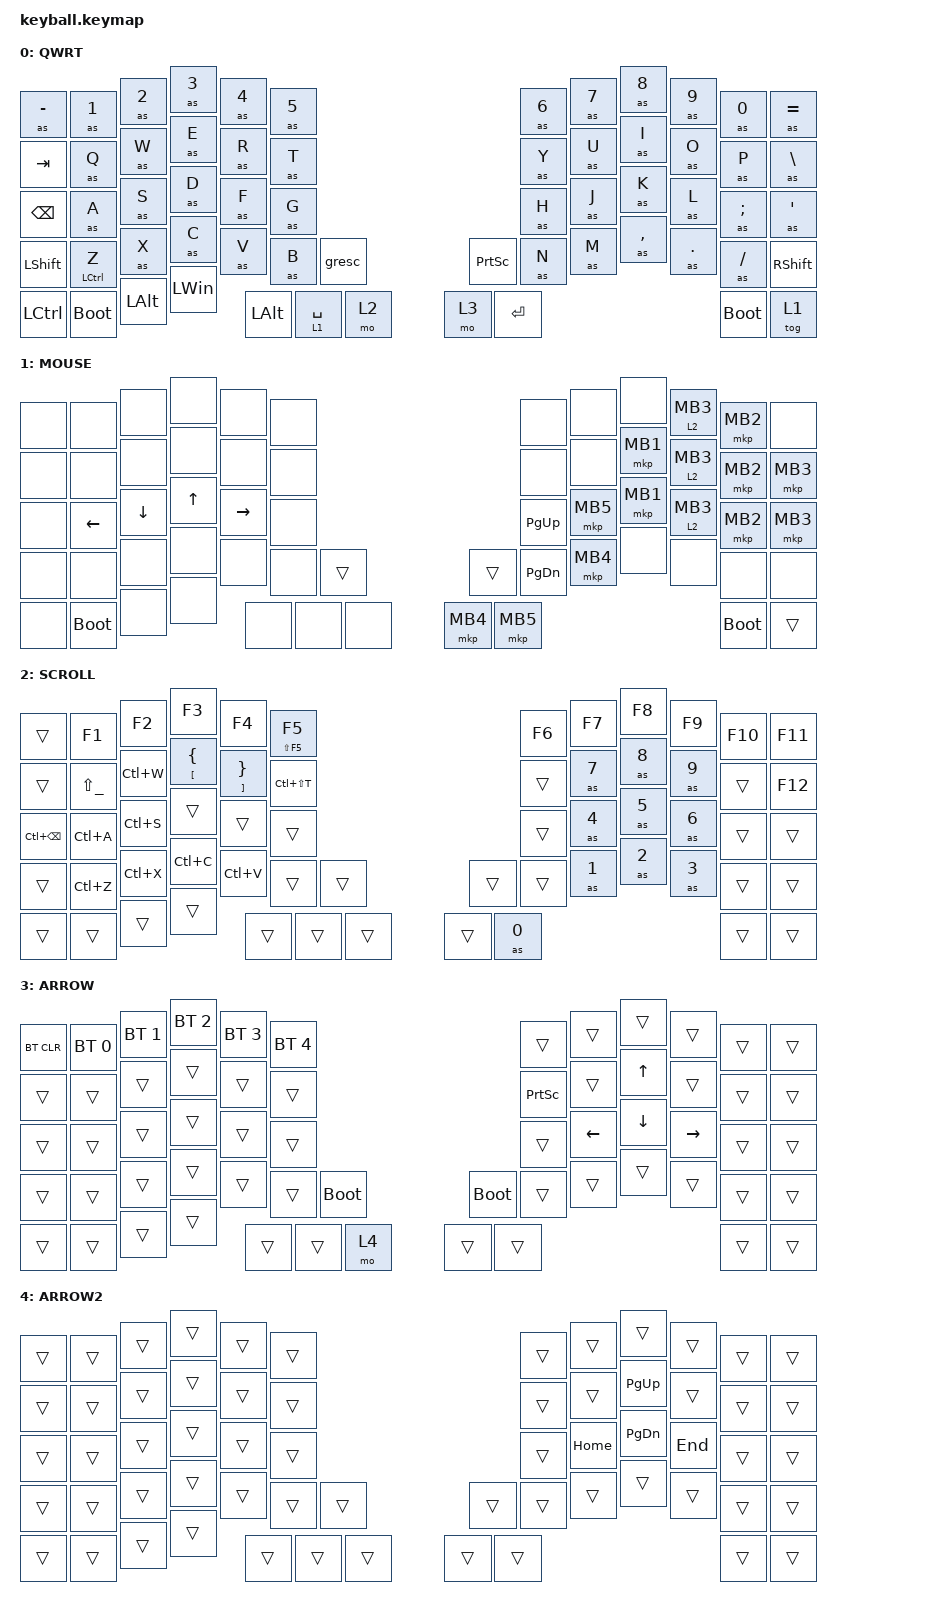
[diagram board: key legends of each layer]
#define DEFAULT 0
#define MOUSE   1
#define SCROLL  2
#define ARROW   3
#define ARROW2  4
#define KEYS_EXCLUDED_FROM_DISABLING_MOUSE_LAYER 9 10 20 21 22 23 30 31 32 33 34 35 44 45 55

#include <dt-bindings/zmk/mouse.h>
#include <behaviors/mouse_keys.dtsi>
#include <input/processors.dtsi>
#include <dt-bindings/zmk/input_transform.h>
#include <zephyr/dt-bindings/input/input-event-codes.h>
#include <behaviors.dtsi>
#include <dt-bindings/zmk/bt.h>
#include <dt-bindings/zmk/keys.h>
#include <dt-bindings/zmk/pointing.h>

// autoshift src: https://github.com/nickcoutsos/keymap-editor/wiki/Autoshift-using-ZMK-behaviors

&nice_view_spi { cs-gpios = <&pro_micro 1 GPIO_ACTIVE_HIGH>; };

&trackball_listener {
    input-processors = <
        &zip_x_scaler 1 1
        &zip_y_scaler 1 1
        &zip_temp_layer MOUSE 1000
    >;

    scroller: scroller {
        layers = <SCROLL>;
        input-processors = <
            &zip_xy_scaler 1 15
            &zip_xy_to_scroll_mapper
            &zip_scroll_transform (INPUT_TRANSFORM_Y_INVERT)
        >;
    };
};

&lt { tapping-term-ms = <170>; };

/ {
    combos {
        compatible = "zmk,combos";

        csharp_lambda {
            bindings = <&csharp_lambda>;
            key-positions = <11 54>;
            layers = <0>;
        };
    };

    behaviors {
        lmt: layer_mouse_tap {
            compatible = "zmk,behavior-hold-tap";
            bindings = <&mo>, <&mkp>;

            #binding-cells = <2>;
            tapping-term-ms = <170>;
        };

        as_ht: autoshift_hold_tap {
            compatible = "zmk,behavior-hold-tap";
            label = "AUTOSHIFT_HOLD_TAP";
            #binding-cells = <2>;
            tapping-term-ms = <110>;
            bindings = <&shifted>, <&kp>;

            flavor = "tap-preferred";
        };
    };

    macros {
        csharp_lambda: csharp_lambda {
            compatible = "zmk,behavior-macro";
            #binding-cells = <0>;
            bindings = <&kp SPACE &kp EQUAL &kp GT &kp SPACE>;
            wait-ms = <30>;
            tap-ms = <30>;
        };

        shifted: macro_shifted_kp {
            #binding-cells = <1>;
            label = "MACRO_SHIFTED_KP";
            compatible = "zmk,behavior-macro-one-param";
            bindings =
                <&macro_press>,
                <&kp LSHFT &macro_param_1to1>,
                <&macro_tap>,
                <&kp MACRO_PLACEHOLDER>,
                <&macro_release>,
                <&kp LSHFT>;
        };

        as: autoshift {
            compatible = "zmk,behavior-macro-one-param";
            #binding-cells = <1>;
            label = "AUTOSHIFT_KP";
            bindings =
                <&macro_press>,
                <&macro_param_1to1 &macro_param_1to2 &as_ht MACRO_PLACEHOLDER MACRO_PLACEHOLDER>,
                <&macro_pause_for_release>,
                <&macro_release>,
                <&macro_param_1to1 &macro_param_1to2 &as_ht MACRO_PLACEHOLDER MACRO_PLACEHOLDER>;
        };
    };

    /omit-if-no-ref/

    zip_temp_layer: zip_temp_layer {
        compatible = "zmk,input-processor-temp-layer";
        #input-processor-cells = <2>;
        require-prior-idle-ms = <500>;
        excluded-positions = <KEYS_EXCLUDED_FROM_DISABLING_MOUSE_LAYER>;
    };

    keymap {
        compatible = "zmk,keymap";

        default_layer {
            display-name = "QWRT";
            bindings = <
&as MINUS       &as N1       &as N2        &as N3        &as N4        &as N5                          &as N6     &as N7  &as N8     &as N9   &as N0       &as EQUAL
&kp TAB         &as Q        &as W         &as E         &as R         &as T                           &as Y      &as U   &as I      &as O    &as P        &as BACKSLASH
&kp BACKSPACE   &as A        &as S         &as D         &as F         &as G                           &as H      &as J   &as K      &as L    &as SEMI     &as SQT
&kp LEFT_SHIFT  &mt LCTRL Z  &as X         &as C         &as V         &as B        &gresc  &kp PSCRN  &as N      &as M   &as COMMA  &as DOT  &as FSLH     &kp RIGHT_SHIFT
&kp LCTRL       &bootloader  &kp LEFT_ALT  &kp LEFT_WIN  &kp LEFT_ALT  &lt 1 SPACE  &mo 2   &mo 3      &kp ENTER                              &bootloader  &tog 1
            >;
        };

        mouse_layer {
            display-name = "MOUSE";
            bindings = <
&none  &none        &none     &none   &none      &none                    &none          &none     &none     &lmt 2 MB3  &mkp MB2     &none
&none  &none        &none     &none   &none      &none                    &none          &none     &mkp MB1  &lmt 2 MB3  &mkp MB2     &mkp MB3
&none  &kp LEFT     &kp DOWN  &kp UP  &kp RIGHT  &none                    &kp PAGE_UP    &mkp MB5  &mkp MB1  &lmt 2 MB3  &mkp MB2     &mkp MB3
&none  &none        &none     &none   &none      &none  &trans  &trans    &kp PAGE_DOWN  &mkp MB4  &none     &none       &none        &none
&none  &bootloader  &none     &none   &none      &none  &none   &mkp MB4  &mkp MB5                                       &bootloader  &trans
            >;
        };

        scroll_layer {
            display-name = "SCROLL";
            bindings = <
&trans             &kp F1         &kp F2     &kp F3                 &kp F4                  &mt LS(F5) F5                  &kp F6  &kp F7  &kp F8  &kp F9  &kp F10  &kp F11
&trans             &kp LS(UNDER)  &kp LC(W)  &mt LEFT_BRACKET LBRC  &mt RIGHT_BRACKET RBRC  &kp LC(LS(T))                  &trans  &as N7  &as N8  &as N9  &trans   &kp F12
&kp LC(BACKSPACE)  &kp LC(A)      &kp LC(S)  &trans                 &trans                  &trans                         &trans  &as N4  &as N5  &as N6  &trans   &trans
&trans             &kp LC(Z)      &kp LC(X)  &kp LC(C)              &kp LC(V)               &trans         &trans  &trans  &trans  &as N1  &as N2  &as N3  &trans   &trans
&trans             &trans         &trans     &trans                 &trans                  &trans         &trans  &trans  &as N0                          &trans   &trans
            >;
        };

        arrow_layer {
            display-name = "ARROW";
            bindings = <
&bt BT_CLR  &bt BT_SEL 0  &bt BT_SEL 1  &bt BT_SEL 2  &bt BT_SEL 3  &bt BT_SEL 4                            &trans           &trans    &trans    &trans     &trans  &trans
&trans      &trans        &trans        &trans        &trans        &trans                                  &kp PRINTSCREEN  &trans    &kp UP    &trans     &trans  &trans
&trans      &trans        &trans        &trans        &trans        &trans                                  &trans           &kp LEFT  &kp DOWN  &kp RIGHT  &trans  &trans
&trans      &trans        &trans        &trans        &trans        &trans        &bootloader  &bootloader  &trans           &trans    &trans    &trans     &trans  &trans
&trans      &trans        &trans        &trans        &trans        &trans        &mo 4        &trans       &trans                                          &trans  &trans
            >;
        };

        arrow_layer_2 {
            display-name = "ARROW2";
            bindings = <
&trans  &trans  &trans  &trans  &trans  &trans                  &trans  &trans    &trans     &trans   &trans  &trans
&trans  &trans  &trans  &trans  &trans  &trans                  &trans  &trans    &kp PG_UP  &trans   &trans  &trans
&trans  &trans  &trans  &trans  &trans  &trans                  &trans  &kp HOME  &kp PG_DN  &kp END  &trans  &trans
&trans  &trans  &trans  &trans  &trans  &trans  &trans  &trans  &trans  &trans    &trans     &trans   &trans  &trans
&trans  &trans  &trans  &trans  &trans  &trans  &trans  &trans  &trans                                &trans  &trans
            >;
        };
    };
};
